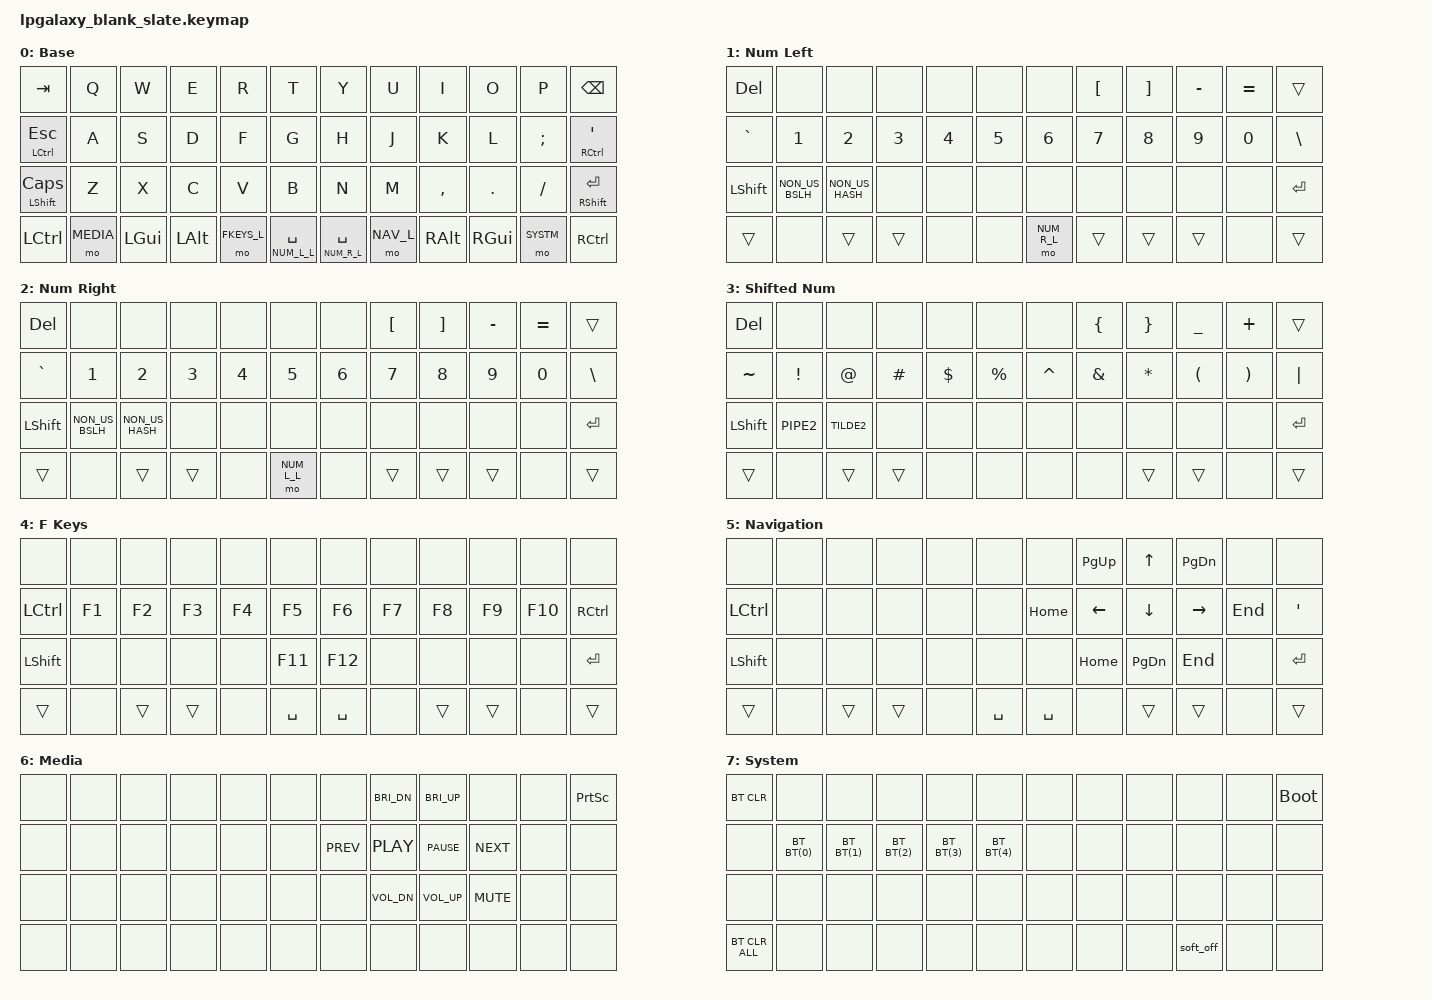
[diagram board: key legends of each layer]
/*
 * Copyright (c) 2022 Pete Johanson
 *
 * SPDX-License-Identifier: MIT
 */

#include <behaviors.dtsi>
#include <dt-bindings/zmk/keys.h>
#include <dt-bindings/zmk/bt.h>
#include <dt-bindings/zmk/outputs.h>

#define NUM_L_L 1
#define NUM_R_L 2
#define NUM_SFT 3
#define FKEYS_L 4
#define NAV_L   5
#define MEDIA   6
#define SYSTM   7


// using layer taps on thumbs, having quick tap as well helps w/ repeating space/backspace
&lt {
    quick_tap_ms = <200>;
};

#define BT(n) BT_SEL n

// tri layer documentation
// https://zmk.dev/docs/features/conditional-layers

/ {
      conditional_layers {
          compatible = "zmk,conditional-layers";
          tri_layer {
              if-layers = <NUM_L_L NUM_R_L>;
              then-layer = <NUM_SFT>;
          };
      };
};

/ {
      keymap {
          compatible = "zmk,keymap";

          base_layer {
              label = "Base";
              bindings = <
&kp TAB          &kp Q      &kp W     &kp E     &kp R        &kp T              &kp Y              &kp U      &kp I      &kp O     &kp P      &kp BKSP
&mt LCTRL ESC    &kp A      &kp S     &kp D     &kp F        &kp G              &kp H              &kp J      &kp K      &kp L     &kp SEMI   &mt RCTRL SINGLE_QUOTE
&mt LSHIFT CAPS  &kp Z      &kp X     &kp C     &kp V        &kp B              &kp N              &kp M      &kp COMMA  &kp DOT   &kp FSLH   &mt RSHIFT RET
&kp LCTRL        &mo MEDIA  &kp LGUI  &kp LALT  &mo FKEYS_L  &lt NUM_L_L SPACE  &lt NUM_R_L SPACE  &mo NAV_L  &kp RALT   &kp RGUI  &mo SYSTM  &kp RCTRL
              >;
          };

          num_layer_left {
              label = "Num Left";
              bindings = <
&kp DEL    &none           &none           &none   &none   &none   &none        &kp LBKT  &kp RBKT  &kp MINUS  &kp EQUAL  &trans
&kp GRAVE  &kp N1          &kp N2          &kp N3  &kp N4  &kp N5  &kp N6       &kp N7    &kp N8    &kp N9     &kp N0     &kp BSLH
&kp LSHFT  &kp NON_US_BSLH &kp NON_US_HASH &none   &none   &none   &none        &none     &none     &none      &none      &kp RET
&trans     &none           &trans          &trans  &none   &none   &mo NUM_R_L  &trans    &trans    &trans     &none      &trans
              >;
          };

          num_layer_right {
              label = "Num Right";
              bindings = <
&kp DEL   &none           &none           &none   &none   &none       &none  &kp LBKT  &kp RBKT  &kp MINUS  &kp EQUAL  &trans
&kp GRAVE &kp N1          &kp N2          &kp N3  &kp N4  &kp N5      &kp N6 &kp N7    &kp N8    &kp N9     &kp N0     &kp BSLH
&kp LSHFT &kp NON_US_BSLH &kp NON_US_HASH &none   &none   &none       &none  &none     &none     &none      &none      &kp RET
&trans    &none           &trans          &trans  &none   &mo NUM_L_L &none  &trans    &trans    &trans     &none      &trans
              >;
          };

          num_layer_shifted {
              label = "Shifted Num";
              bindings = <
&kp DEL    &none     &none       &none     &none       &none        &none      &kp LBRC  &kp RBRC  &kp UNDER  &kp PLUS  &trans
&kp TILDE  &kp EXCL  &kp AT      &kp HASH  &kp DOLLAR  &kp PERCENT  &kp CARET  &kp AMPS  &kp STAR  &kp LPAR   &kp RPAR  &kp PIPE
&kp LSHFT  &kp PIPE2 &kp TILDE2  &none     &none       &none        &none      &none     &none     &none      &none     &kp RET
&trans     &none     &trans      &trans    &none       &none        &none      &none     &trans    &trans     &none     &trans
              >;
          };

          fkeys_layer {
              label = "F Keys";
              bindings = <
&none      &none   &none   &none   &none   &none      &none      &none   &none   &none   &none    &none
&kp LCTRL  &kp F1  &kp F2  &kp F3  &kp F4  &kp F5     &kp F6     &kp F7  &kp F8  &kp F9  &kp F10  &kp RCTRL
&kp LSHFT  &none   &none   &none   &none   &kp F11    &kp F12    &none   &none   &none   &none    &kp RET
&trans     &none   &trans  &trans  &none   &kp SPACE  &kp SPACE  &none   &trans  &trans  &none    &trans
              >;
          };

          nav_layer {
              label = "Navigation";
              bindings = <
&none      &none  &none   &none   &none  &none      &none      &kp PG_UP  &kp UP     &kp PG_DN  &none    &none
&kp LCTRL  &none  &none   &none   &none  &none      &kp HOME   &kp LEFT   &kp DOWN   &kp RIGHT  &kp END  &kp SINGLE_QUOTE
&kp LSHFT  &none  &none   &none   &none  &none      &none      &kp HOME   &kp PG_DN  &kp END    &none    &kp RET
&trans     &none  &trans  &trans  &none  &kp SPACE  &kp SPACE  &none      &trans     &trans     &none    &trans
              >;
          };

          media_layer {
              label = "Media";
              bindings = <
&none  &none  &none  &none  &none  &none  &none       &kp C_BRI_DN  &kp C_BRI_UP  &none       &none  &kp PRINTSCREEN
&none  &none  &none  &none  &none  &none  &kp C_PREV  &kp C_PLAY    &kp C_PAUSE   &kp C_NEXT  &none  &none
&none  &none  &none  &none  &none  &none  &none       &kp C_VOL_DN  &kp C_VOL_UP  &kp C_MUTE  &none  &none
&none  &none  &none  &none  &none  &none  &none       &none         &none         &none       &none  &none
              >;
          };

          sym_layer {
              label = "System";
              bindings = <
&bt BT_CLR      &none      &none      &none      &none      &none      &none  &none  &none  &none     &none  &bootloader
&none           &bt BT(0)  &bt BT(1)  &bt BT(2)  &bt BT(3)  &bt BT(4)  &none  &none  &none  &none     &none  &none
&none           &none      &none      &none      &none      &none      &none  &none  &none  &none     &none  &none
&bt BT_CLR_ALL  &none      &none      &none      &none      &none      &none  &none  &none  &soft_off &none  &none
              >;
          };

      };
};

